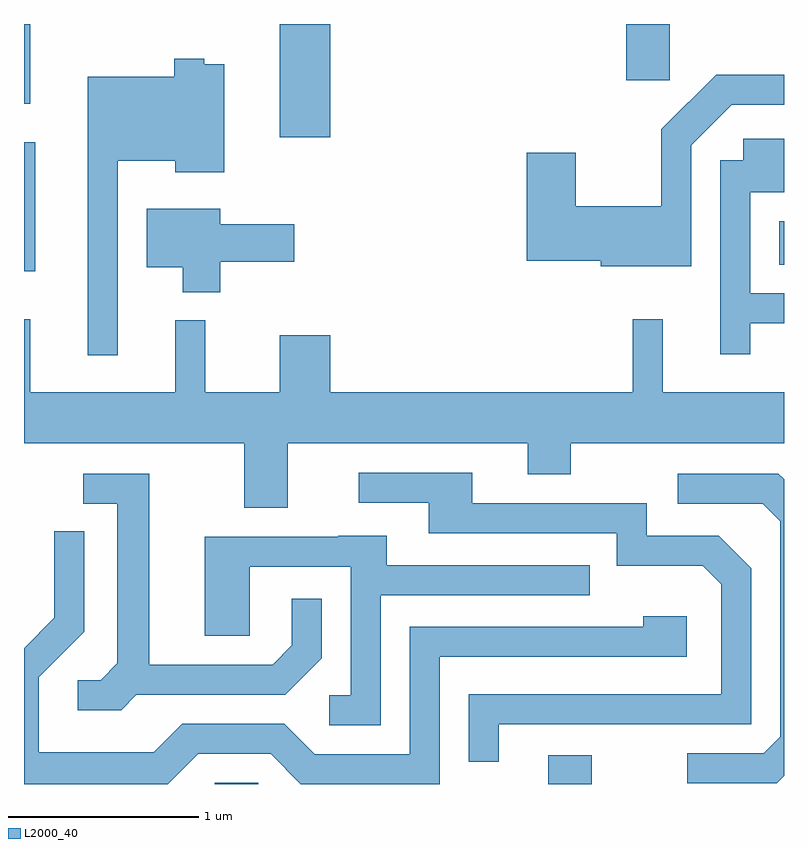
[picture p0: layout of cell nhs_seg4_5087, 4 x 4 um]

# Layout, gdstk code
import gdstk
lib = gdstk.Library(unit=1e-6, precision=1e-09)
def R(c, l, rs):  # rectangles x0, y0, x1, y1
    for r in rs: c.add(gdstk.rectangle(r[:2], r[2:], *l))
def P(c, l, *ps):  # polygons
    for p in ps: c.add(gdstk.Polygon(p, *l))
L2000_40 = (2000, 40)

nhs_seg4_5087 = lib.new_cell('nhs_seg4_5087')
R(nhs_seg4_5087, L2000_40, [(334.616,1363.982,334.844,1363.989), (336.371,1363.982,336.599,1364.134), (333.611,1366.681,333.669,1367.359), (337.586,1366.716,337.611,1366.944), (334.956,1367.386,335.224,1367.982), (333.611,1367.563,333.644,1367.982), (336.781,1367.686,337.009,1367.982)])
P(nhs_seg4_5087, L2000_40, [(334.104,1367.261),(334.406,1367.261),(334.406,1367.201),(334.664,1367.201),(334.664,1367.769),(334.559,1367.769),(334.559,1367.799),(334.401,1367.799),(334.401,1367.704),(333.946,1367.704),(333.946,1366.238),(334.104,1366.238)],
  [(337.124,1367.344),(337.337,1367.556),(337.611,1367.556),(337.611,1367.714),(337.254,1367.714),(336.966,1367.427),(336.966,1367.024),(336.514,1367.024),(336.514,1367.304),(336.256,1367.304),(336.256,1366.736),(336.646,1366.736),(336.646,1366.706),(337.124,1366.706)],
  [(337.434,1366.406),(337.611,1366.406),(337.611,1366.564),(337.434,1366.564),(337.434,1367.096),(337.611,1367.096),(337.611,1367.379),(337.396,1367.379),(337.396,1367.264),(337.276,1367.264),(337.276,1366.243),(337.434,1366.243)],
  [(334.644,1366.731),(335.034,1366.731),(335.034,1366.929),(334.644,1366.929),(334.644,1367.009),(334.256,1367.009),(334.256,1366.701),(334.446,1366.701),(334.446,1366.571),(334.644,1366.571)],
  [(334.999,1365.776),(336.261,1365.776),(336.261,1365.611),(336.489,1365.611),(336.489,1365.776),(337.611,1365.776),(337.611,1366.044),(336.974,1366.044),(336.974,1366.428),(336.816,1366.428),(336.816,1366.044),(335.224,1366.044),(335.224,1366.344),(334.956,1366.344),(334.956,1366.044),(334.564,1366.044),(334.564,1366.423),(334.406,1366.423),(334.406,1366.044),(333.644,1366.044),(333.644,1366.428),(333.611,1366.428),(333.611,1365.776),(334.771,1365.776),(334.771,1365.436),(334.999,1365.436)],
  [(336.109,1364.296),(337.439,1364.296),(337.439,1365.117),(337.267,1365.289),(336.889,1365.289),(336.889,1365.459),(335.969,1365.459),(335.969,1365.619),(335.373,1365.619),(335.373,1365.461),(335.741,1365.461),(335.741,1365.301),(336.731,1365.301),(336.731,1365.131),(337.184,1365.131),(337.281,1365.034),(337.281,1364.454),(335.951,1364.454),(335.951,1364.098),(336.109,1364.098)],
  [(337.611,1364.025),(337.611,1365.585),(337.582,1365.614),(337.053,1365.614),(337.053,1365.456),(337.499,1365.456),(337.591,1365.364),(337.591,1364.232),(337.504,1364.144),(337.103,1364.144),(337.103,1363.986),(337.572,1363.986)],
  [(334.202,1364.451),(334.987,1364.451),(335.179,1364.644),(335.179,1364.958),(335.021,1364.958),(335.021,1364.712),(334.919,1364.609),(334.269,1364.609),(334.269,1365.614),(333.923,1365.614),(333.923,1365.456),(334.101,1365.456),(334.101,1364.617),(334.014,1364.529),(333.893,1364.529),(333.893,1364.371),(334.122,1364.371)],
  [(334.527,1364.141),(334.909,1364.141),(335.068,1363.982),(335.799,1363.982),(335.799,1364.651),(337.099,1364.651),(337.099,1364.864),(336.871,1364.864),(336.871,1364.809),(335.641,1364.809),(335.641,1364.139),(335.142,1364.139),(334.982,1364.299),(334.444,1364.299),(334.294,1364.149),(333.689,1364.149),(333.689,1364.544),(333.929,1364.784),(333.929,1365.313),(333.771,1365.313),(333.771,1364.857),(333.611,1364.697),(333.611,1363.982),(334.368,1363.982)],
  [(335.489,1364.976),(336.588,1364.976),(336.588,1365.134),(335.519,1365.134),(335.519,1365.289),(335.265,1365.289),(335.265,1365.284),(334.561,1365.284),(334.561,1364.761),(334.799,1364.761),(334.799,1365.126),(335.331,1365.126),(335.331,1364.449),(335.218,1364.449),(335.218,1364.291),(335.489,1364.291)])

lib.write_gds('nhs_seg4_5087.gds')
